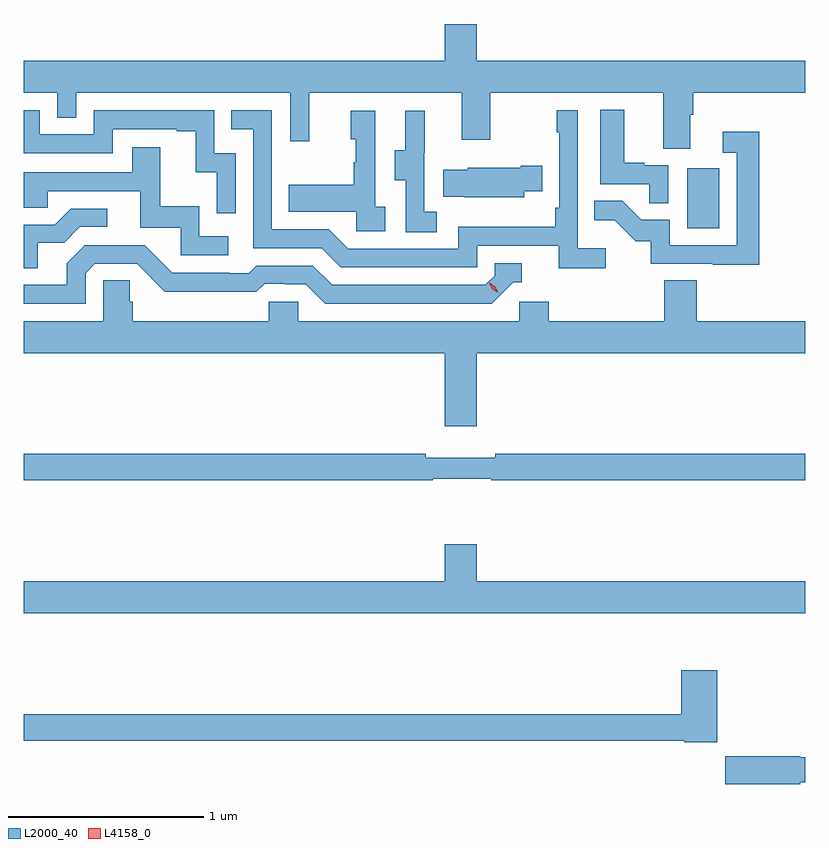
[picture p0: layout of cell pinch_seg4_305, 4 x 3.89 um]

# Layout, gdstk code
import gdstk
lib = gdstk.Library(unit=1e-6, precision=1e-09)
def R(c, l, rs):  # rectangles x0, y0, x1, y1
    for r in rs: c.add(gdstk.rectangle(r[:2], r[2:], *l))
def P(c, l, *ps):  # polygons
    for p in ps: c.add(gdstk.Polygon(p, *l))
L2000_40 = (2000, 40)
L4158_0 = (4158, 0)

pinch_seg4_305 = lib.new_cell('pinch_seg4_305')
R(pinch_seg4_305, L2000_40, [(945.47,792.132,945.634,792.439)])
P(pinch_seg4_305, L2000_40, [(945.487,792.712),(945.5,792.712),(945.5,792.824),(946.074,792.824),(946.074,792.988),(944.392,792.988),(944.392,793.177),(944.228,793.177),(944.228,792.988),(942.074,792.988),(942.074,792.824),(942.246,792.824),(942.246,792.697),(942.342,792.697),(942.342,792.824),(943.437,792.824),(943.437,792.576),(943.535,792.576),(943.535,792.824),(944.315,792.824),(944.315,792.585),(944.463,792.585),(944.463,792.824),(945.347,792.824),(945.347,792.538),(945.487,792.538)],
  [(945.372,792.453),(945.251,792.453),(945.251,792.466),(945.148,792.466),(945.148,792.739),(945.026,792.739),(945.026,792.357),(945.277,792.357),(945.277,792.259),(945.372,792.259)],
  [(945.052,792.028),(944.91,792.028),(944.91,792.736),(944.802,792.736),(944.802,792.623),(944.814,792.623),(944.814,792.235),(944.794,792.235),(944.794,792.139),(944.298,792.139),(944.298,792.027),(943.734,792.027),(943.635,792.126),(943.344,792.126),(943.344,792.735),(943.135,792.735),(943.135,792.639),(943.248,792.639),(943.248,792.03),(943.598,792.03),(943.697,791.931),(944.394,791.931),(944.394,792.042),(944.813,792.042),(944.813,791.926),(945.052,791.926)],
  [(943.158,792.516),(943.05,792.516),(943.05,792.735),(942.432,792.735),(942.432,792.612),(942.156,792.612),(942.156,792.735),(942.074,792.735),(942.074,792.516),(942.528,792.516),(942.528,792.639),(942.857,792.639),(942.857,792.627),(942.953,792.627),(942.953,792.419),(943.062,792.419),(943.062,792.207),(943.158,792.207)],
  [(944.188,792.215),(944.124,792.215),(944.124,792.519),(944.126,792.519),(944.126,792.733),(944.027,792.733),(944.027,792.531),(943.973,792.531),(943.973,792.376),(944.028,792.376),(944.028,792.112),(944.188,792.112)],
  [(943.924,792.242),(943.872,792.242),(943.872,792.733),(943.748,792.733),(943.748,792.588),(943.774,792.588),(943.774,792.47),(943.764,792.47),(943.764,792.355),(943.429,792.355),(943.429,792.215),(943.776,792.215),(943.776,792.117),(943.924,792.117)],
  [(945.839,792.625),(945.651,792.625),(945.651,792.519),(945.723,792.519),(945.723,792.045),(945.381,792.045),(945.381,792.174),(945.236,792.174),(945.138,792.272),(944.995,792.272),(944.995,792.173),(945.099,792.173),(945.206,792.066),(945.283,792.066),(945.283,791.949),(945.601,791.949),(945.601,791.944),(945.839,791.944)],
  [(943.12,792.09),(942.972,792.09),(942.972,792.244),(942.773,792.244),(942.773,792.547),(942.629,792.547),(942.629,792.417),(942.074,792.417),(942.074,792.237),(942.197,792.237),(942.197,792.321),(942.671,792.321),(942.671,792.135),(942.876,792.135),(942.876,791.994),(943.12,791.994)],
  [(944.635,792.32),(944.729,792.32),(944.729,792.45),(944.618,792.45),(944.618,792.442),(944.346,792.442),(944.346,792.43),(944.221,792.43),(944.221,792.293),(944.329,792.293),(944.329,792.29),(944.635,792.29)],
  [(942.145,792.058),(942.28,792.058),(942.36,792.138),(942.502,792.138),(942.502,792.231),(942.314,792.231),(942.233,792.15),(942.074,792.15),(942.074,791.926),(942.145,791.926)],
  [(942.39,791.901),(942.438,791.949),(942.654,791.949),(942.796,791.807),(943.032,791.807),(943.032,791.805),(943.265,791.805),(943.307,791.847),(943.41,791.847),(943.41,791.844),(943.517,791.844),(943.616,791.745),(944.469,791.745),(944.58,791.856),(944.623,791.856),(944.623,791.952),(944.484,791.952),(944.484,791.889),(944.436,791.841),(943.653,791.841),(943.554,791.94),(943.265,791.94),(943.226,791.901),(943.127,791.901),(943.127,791.904),(942.834,791.904),(942.693,792.045),(942.387,792.045),(942.293,791.951),(942.293,791.841),(942.074,791.841),(942.074,791.745),(942.39,791.745)],
  [(944.392,791.492),(946.074,791.492),(946.074,791.656),(945.518,791.656),(945.518,791.864),(945.353,791.864),(945.353,791.656),(944.762,791.656),(944.762,791.754),(944.61,791.754),(944.61,791.656),(943.479,791.656),(943.479,791.754),(943.329,791.754),(943.329,791.656),(942.632,791.656),(942.632,791.754),(942.617,791.754),(942.617,791.864),(942.48,791.864),(942.48,791.656),(942.074,791.656),(942.074,791.492),(944.228,791.492),(944.228,791.118),(944.392,791.118)],
  [(944.168,790.848),(944.468,790.848),(944.468,790.84),(946.074,790.84),(946.074,790.976),(944.488,790.976),(944.488,790.957),(944.132,790.957),(944.132,790.976),(942.074,790.976),(942.074,790.84),(944.168,790.84)],
  [(946.074,790.324),(944.392,790.324),(944.392,790.513),(944.228,790.513),(944.228,790.324),(942.074,790.324),(942.074,790.16),(946.074,790.16)],
  [(945.623,789.868),(945.44,789.868),(945.44,789.644),(942.074,789.644),(942.074,789.508),(945.456,789.508),(945.456,789.5),(945.623,789.5)],
  [(946.05,789.294),(946.074,789.294),(946.074,789.422),(946.05,789.422),(946.05,789.428),(945.666,789.428),(945.666,789.286),(946.05,789.286)])
P(pinch_seg4_305, L4158_0, [(944.504,791.801),(944.473,791.82),(944.457,791.852),(944.457,791.853),(944.458,791.853),(944.488,791.833),(944.504,791.801),(944.504,791.801)])

lib.write_gds('pinch_seg4_305.gds')
